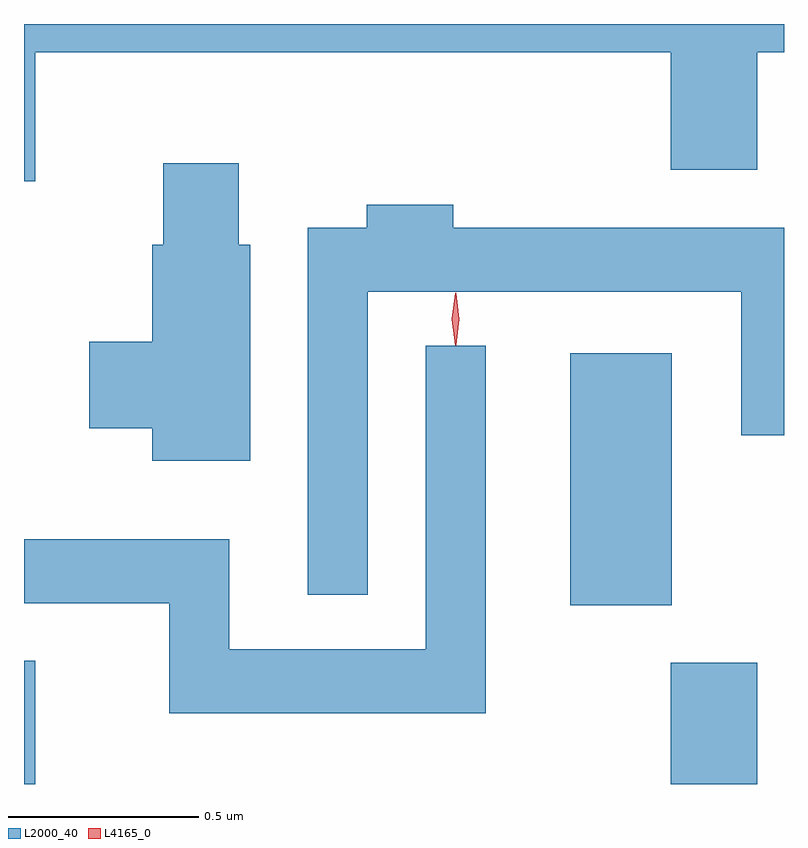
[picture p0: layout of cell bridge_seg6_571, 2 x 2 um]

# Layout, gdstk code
import gdstk
lib = gdstk.Library(unit=1e-6, precision=1e-09)
def R(c, l, rs):  # rectangles x0, y0, x1, y1
    for r in rs: c.add(gdstk.rectangle(r[:2], r[2:], *l))
def P(c, l, *ps):  # polygons
    for p in ps: c.add(gdstk.Polygon(p, *l))
L2000_40 = (2000, 40)
L4165_0 = (4165, 0)

bridge_seg6_571 = lib.new_cell('bridge_seg6_571')
R(bridge_seg6_571, L2000_40, [(444.699,1661.33,444.729,1661.654), (446.401,1661.33,446.629,1661.649), (446.136,1661.801,446.404,1662.464)])
P(bridge_seg6_571, L2000_40, [(444.699,1662.916),(444.729,1662.916),(444.729,1663.256),(446.401,1663.256),(446.401,1662.946),(446.629,1662.946),(446.629,1663.256),(446.699,1663.256),(446.699,1663.33),(444.699,1663.33)],
  [(445.294,1662.749),(445.264,1662.749),(445.264,1662.964),(445.066,1662.964),(445.066,1662.749),(445.036,1662.749),(445.036,1662.494),(444.871,1662.494),(444.871,1662.266),(445.036,1662.266),(445.036,1662.181),(445.294,1662.181)],
  [(445.604,1662.626),(446.586,1662.626),(446.586,1662.248),(446.699,1662.248),(446.699,1662.794),(445.829,1662.794),(445.829,1662.854),(445.601,1662.854),(445.601,1662.794),(445.446,1662.794),(445.446,1661.828),(445.604,1661.828)],
  [(445.914,1662.483),(445.756,1662.483),(445.756,1661.684),(445.239,1661.684),(445.239,1661.974),(444.699,1661.974),(444.699,1661.806),(445.081,1661.806),(445.081,1661.516),(445.914,1661.516)])
P(bridge_seg6_571, L4165_0, [(445.834,1662.484),(445.825,1662.553),(445.834,1662.622),(445.835,1662.623),(445.836,1662.622),(445.845,1662.553),(445.836,1662.484),(445.835,1662.484)],
  [(445.834,1662.487),(445.825,1662.554),(445.834,1662.62),(445.835,1662.621),(445.835,1662.62),(445.845,1662.554),(445.835,1662.487),(445.835,1662.487)])

lib.write_gds('bridge_seg6_571.gds')
